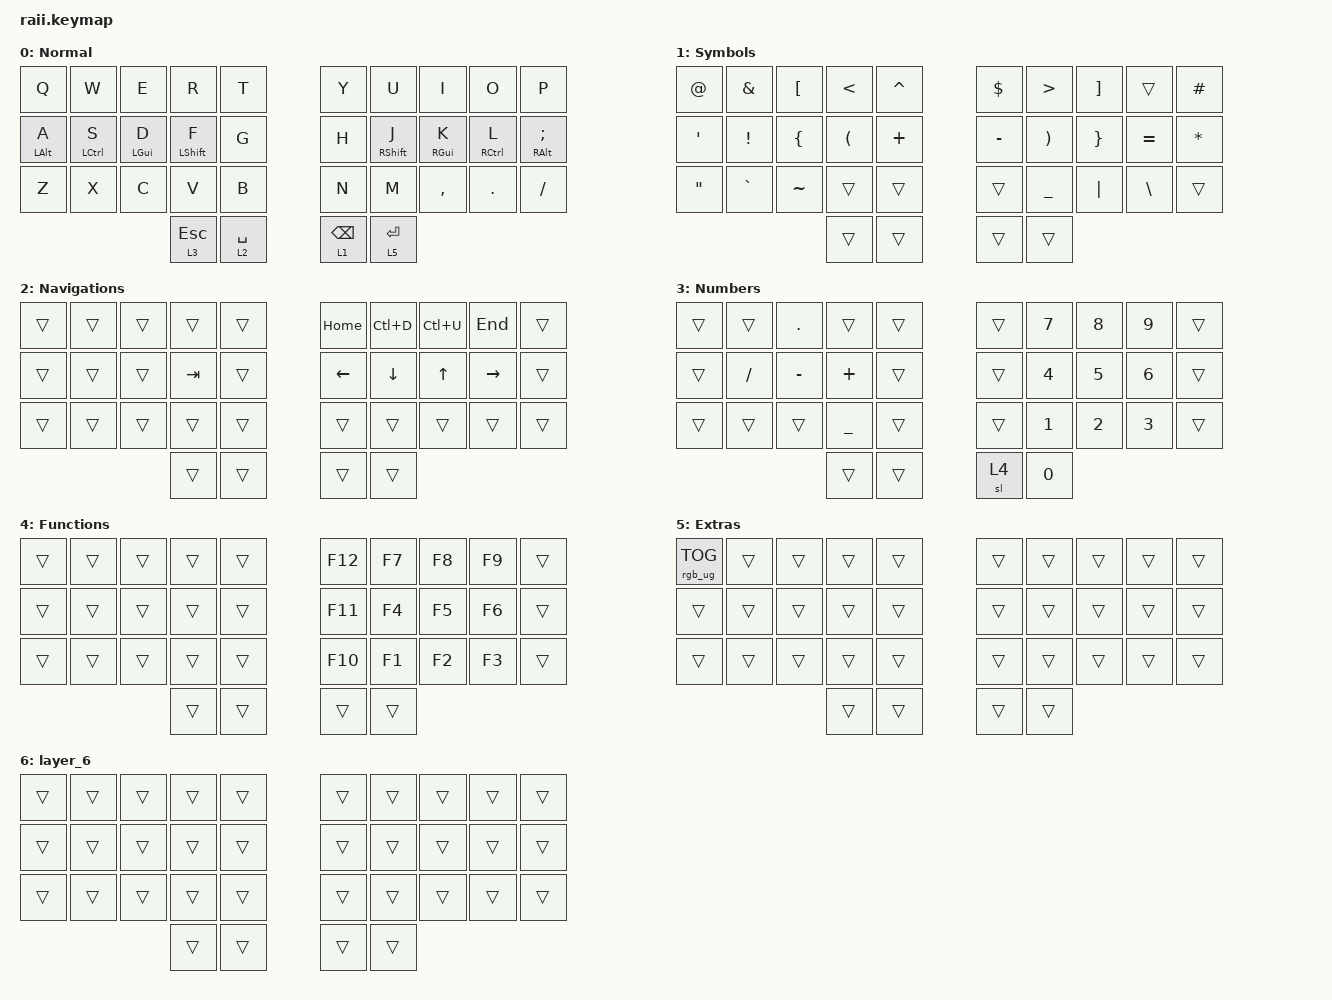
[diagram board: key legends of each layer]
#include <behaviors.dtsi>
#include <dt-bindings/zmk/keys.h>
#include <dt-bindings/zmk/rgb.h>

/ {
    macros {
        mac_lock: mac_lock {
            compatible = "zmk,behavior-macro";
            #binding-cells = <0>;
            bindings = <&kp LC(LG(Q))>;
            label = "MAC_LOCK";
        };
    };

    behaviors {
        hml: hml {
            compatible = "zmk,behavior-hold-tap";
            label = "HML";
            #binding-cells = <2>;
            tapping-term-ms = <280>;
            bindings = <&kp>, <&kp>;

            flavor = "balanced";
            hold-trigger-key-positions = <5 6 7 8 9 15 16 17 18 19 25 26 27 28 29>;
            require-prior-idle-ms = <150>;
            quick-tap-ms = <175>;
            hold-trigger-on-release;
        };

        hmr: hmr {
            compatible = "zmk,behavior-hold-tap";
            label = "HMR";
            #binding-cells = <2>;
            tapping-term-ms = <280>;
            bindings = <&kp>, <&kp>;

            flavor = "balanced";
            require-prior-idle-ms = <150>;
            quick-tap-ms = <175>;
            hold-trigger-on-release;
            hold-trigger-key-positions = <0 1 2 3 4 10 11 12 13 14 20 21 22 23 24>;
        };

        tcht: tcht {
            compatible = "zmk,behavior-hold-tap";
            label = "TCHT";
            bindings = <&mo>, <&kp>;

            #binding-cells = <2>;
            flavor = "tap-preferred";
            tapping-term-ms = <200>;
            quick-tap-ms = <190>;
            hold-trigger-on-release;
            hold-trigger-key-positions = <32 33 30 31>;
        };

        hml_s: hml_s {
            compatible = "zmk,behavior-hold-tap";
            label = "HML_S";
            #binding-cells = <2>;
            tapping-term-ms = <250>;
            bindings = <&kp>, <&kp>;

            flavor = "balanced";
            hold-trigger-key-positions = <5 6 7 8 9 15 16 17 18 19 25 26 27 28 29>;
            require-prior-idle-ms = <110>;
            quick-tap-ms = <150>;
            hold-trigger-on-release;
        };

        hmr_s: hmr_s {
            compatible = "zmk,behavior-hold-tap";
            label = "HMR_S";
            #binding-cells = <2>;
            tapping-term-ms = <250>;
            bindings = <&kp>, <&kp>;

            flavor = "balanced";
            require-prior-idle-ms = <110>;
            quick-tap-ms = <150>;
            hold-trigger-on-release;
            hold-trigger-key-positions = <0 1 2 3 4 10 11 12 13 14 20 21 22 23 24>;
        };
    };

    combos {
        compatible = "zmk,combos";

        mac_ime_toggle {
            bindings = <&kp LC(SPACE)>;
            key-positions = <31 32>;
        };

        tab {
            bindings = <&kp TAB>;
            key-positions = <13 12>;
        };

        mac_ime_tog2 {
            bindings = <&kp LC(SPACE)>;
            key-positions = <16 17>;
        };
    };

    keymap {
        compatible = "zmk,keymap";
        label = "DEFAULT";

        NOR {
            label = "Normal";
            bindings = <
&kp Q            &kp W         &kp E        &kp R            &kp T          &kp Y              &kp U           &kp I             &kp O         &kp P
&hml LEFT_ALT A  &hml LCTRL S  &hml LGUI D  &hml_s LSHIFT F  &kp G          &kp H              &hmr_s RSHFT J  &hmr RIGHT_GUI K  &hmr RCTRL L  &hmr RIGHT_ALT SEMICOLON
&kp Z            &kp X         &kp C        &kp V            &kp B          &kp N              &kp M           &kp COMMA         &kp DOT       &kp SLASH
                                            &tcht 3 ESCAPE   &tcht 2 SPACE  &tcht 1 BACKSPACE  &tcht 5 ENTER
            >;
        };

        SYM {
            label = "Symbols";
            bindings = <
&kp AT_SIGN        &kp AMPERSAND  &kp LEFT_BRACKET  &kp LESS_THAN         &kp CARET  &kp DOLLAR  &kp GREATER_THAN       &kp RIGHT_BRACKET  &trans         &kp HASH
&kp SINGLE_QUOTE   &kp EXCL       &kp LEFT_BRACE    &kp LEFT_PARENTHESIS  &kp PLUS   &kp MINUS   &kp RIGHT_PARENTHESIS  &kp RIGHT_BRACE    &kp EQUAL      &kp ASTERISK
&kp DOUBLE_QUOTES  &kp GRAVE      &kp TILDE         &trans                &trans     &trans      &kp UNDER              &kp PIPE           &kp BACKSLASH  &trans
                                                    &trans                &trans     &trans      &trans
            >;
        };

        NAV {
            bindings = <
&trans  &trans  &trans  &trans   &trans  &kp HOME  &kp LC(D)  &kp LC(U)     &kp END    &trans
&trans  &trans  &trans  &kp TAB  &trans  &kp LEFT  &kp DOWN   &kp UP_ARROW  &kp RIGHT  &trans
&trans  &trans  &trans  &trans   &trans  &trans    &trans     &trans        &trans     &trans
                        &trans   &trans  &trans    &trans
            >;

            label = "Navigations";
        };

        NUM {
            bindings = <
&trans  &trans     &kp DOT    &trans     &trans  &trans  &kp N7  &kp N8  &kp N9  &trans
&trans  &kp SLASH  &kp MINUS  &kp PLUS   &trans  &trans  &kp N4  &kp N5  &kp N6  &trans
&trans  &trans     &trans     &kp UNDER  &trans  &trans  &kp N1  &kp N2  &kp N3  &trans
                              &trans     &trans  &sl 4   &kp N0
            >;

            label = "Numbers";
        };

        FUN {
            bindings = <
&trans  &trans  &trans  &trans  &trans  &kp F12  &kp F7  &kp F8  &kp F9  &trans
&trans  &trans  &trans  &trans  &trans  &kp F11  &kp F4  &kp F5  &kp F6  &trans
&trans  &trans  &trans  &trans  &trans  &kp F10  &kp F1  &kp F2  &kp F3  &trans
                        &trans  &trans  &trans   &trans
            >;

            label = "Functions";
        };

        EXT {
            bindings = <
&rgb_ug RGB_TOG  &trans  &trans  &trans  &trans  &trans  &trans  &trans  &trans  &trans
&trans           &trans  &trans  &trans  &trans  &trans  &trans  &trans  &trans  &trans
&trans           &trans  &trans  &trans  &trans  &trans  &trans  &trans  &trans  &trans
                                 &trans  &trans  &trans  &trans
            >;

            label = "Extras";
        };

        layer_6 {
            bindings = <
&trans  &trans  &trans  &trans  &trans  &trans  &trans  &trans  &trans  &trans
&trans  &trans  &trans  &trans  &trans  &trans  &trans  &trans  &trans  &trans
&trans  &trans  &trans  &trans  &trans  &trans  &trans  &trans  &trans  &trans
                        &trans  &trans  &trans  &trans
            >;
        };
    };
};
